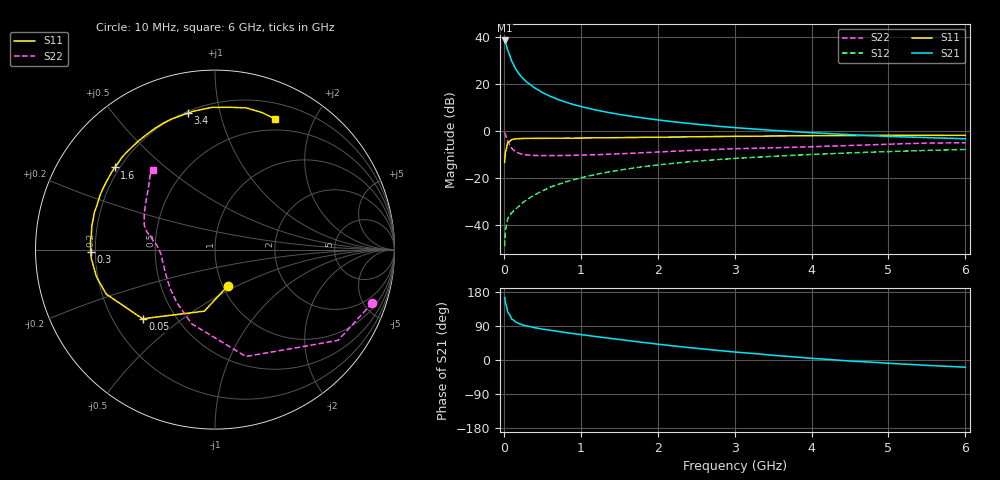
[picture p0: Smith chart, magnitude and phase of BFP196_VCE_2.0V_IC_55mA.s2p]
! Infineon Technologies  Discrete & RF Semiconductors
! BFP196
! VCE =  2.0 V,  IC =  55 mA
! Common Emitter S-Parameters:  Jan 2017
# GHz  S  MA  R  50
!  f  S11  S21  S12  S22
! GHz  MAG  ANG  MAG  ANG  MAG  ANG  MAG  ANG
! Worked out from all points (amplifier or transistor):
!   77 points, 10 MHz to 6 GHz, reference 50 ohm
!   highest |S21| = 38.3 dB at 10 MHz (marker M1)
!   |S21| within 3 dB of that: start of sweep to 40.2 MHz
!   unconditionally stable (mu >= 1): 466.2 MHz to 2.548 GHz
!   at 130 MHz: K = 0.68, MSG = 30.9 dB, |S12| = -33.9 dB
!   at 2.2 GHz: K = 1.01, MAG = 8.1 dB, |S12| = -13.8 dB
!   at 6 GHz: K = 0.97, MSG = 2.3 dB, |S12| = -7.9 dB
!   S11 on the Smith chart (normalised r, x): 10 MHz: 1.05, -0.45; 50 MHz: 0.33, -0.36; 300 MHz: 0.18, -0.01; 1.6 GHz: 0.18, +0.35; 3.4 GHz: 0.21, +0.80; 6 GHz: 0.37, +1.49
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0.01  0.2148 -70.7  82.49 165.1  0.0036 76.3  0.925 -18.8
0.02  0.348 -99.8  76.57 152.0  0.0075 72.8  0.852 -36.4
0.05  0.5579 -136.3  51.75 126.2  0.0137 52.0  0.6199 -73.9
0.1  0.6547 -157.7  30.45 108.5  0.0182 53.1  0.4333 -107.5
0.15  0.6772 -166.9  21.02 100.8  0.0217 55.4  0.3639 -125.7
0.2  0.6837 -172.3  15.98 95.8  0.0255 58.4  0.3343 -137.4
0.25  0.6912 -176.1  12.84 92.3  0.0305 61.9  0.3181 -145.2
0.3  0.6926 -179.1  10.75 89.7  0.0347 64.3  0.3093 -151.2
0.4  0.6953 176.2  8.122 85.2  0.044 66.3  0.3018 -159.0
0.5  0.6945 172.3  6.503 81.7  0.0534 67.0  0.2986 -164.3
0.6  0.6989 169.0  5.444 78.4  0.0637 67.3  0.2999 -168.3
0.7  0.6995 166.1  4.67 75.7  0.0727 67.3  0.299 -171.4
0.8  0.7034 163.0  4.096 72.5  0.0825 67.0  0.3013 -173.7
0.9  0.7022 159.8  3.642 69.8  0.0914 65.6  0.3038 -175.7
1.1  0.7089 154.2  3.006 64.5  0.1106 63.8  0.3096 -179.2
1.6  0.7222 140.7  2.106 51.6  0.1557 57.3  0.3313 174.3
2.1  0.7364 127.7  1.634 39.6  0.1971 50.2  0.3629 169.2
3.1  0.7676 106.5  1.141 19.5  0.2658 36.0  0.4217 159.3
3.4  0.7755 101.1  1.053 14.3  0.2833 32.3  0.4333 155.6
4.1  0.7923 90.0  0.898 3.1  0.3212 23.5  0.4662 145.9
5.1  0.8074 76.3  0.754 -9.7  0.3682 11.8  0.5273 133.9
6  0.8016 65.4  0.68 -19.0  0.4039 1.8  0.5618 127.6
